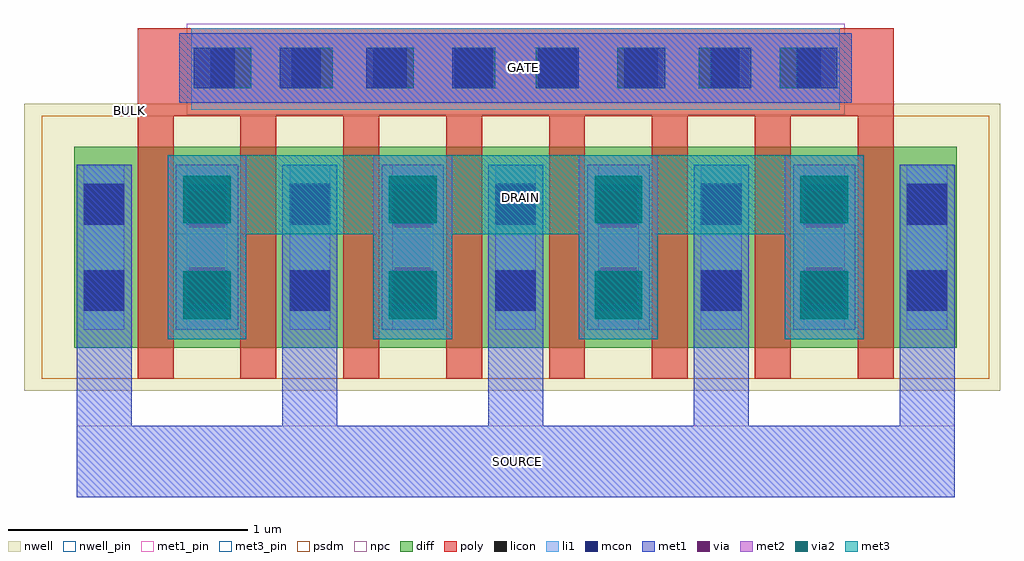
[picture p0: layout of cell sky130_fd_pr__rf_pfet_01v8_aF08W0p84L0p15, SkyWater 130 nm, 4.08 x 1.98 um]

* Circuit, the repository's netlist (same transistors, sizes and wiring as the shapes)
* Copyright 2020 The SkyWater PDK Authors
*
* Licensed under the Apache License, Version 2.0 (the "License");
* you may not use this file except in compliance with the License.
* You may obtain a copy of the License at
*
*     https://www.apache.org/licenses/LICENSE-2.0
*
* Unless required by applicable law or agreed to in writing, software
* distributed under the License is distributed on an "AS IS" BASIS,
* WITHOUT WARRANTIES OR CONDITIONS OF ANY KIND, either express or implied.
* See the License for the specific language governing permissions and
* limitations under the License.
*
* SPDX-License-Identifier: Apache-2.0


.subckt sky130_fd_pr__rf_pfet_01v8_aF08W0p84L0p15 BULK DRAIN GATE SOURCE
X0 SOURCE GATE DRAIN BULK sky130_fd_pr__pfet_01v8 w=840000u l=150000u
X1 DRAIN GATE SOURCE BULK sky130_fd_pr__pfet_01v8 w=840000u l=150000u
X2 SOURCE GATE DRAIN BULK sky130_fd_pr__pfet_01v8 w=840000u l=150000u
X3 SOURCE GATE DRAIN BULK sky130_fd_pr__pfet_01v8 w=840000u l=150000u
X4 DRAIN GATE SOURCE BULK sky130_fd_pr__pfet_01v8 w=840000u l=150000u
X5 SOURCE GATE DRAIN BULK sky130_fd_pr__pfet_01v8 w=840000u l=150000u
X6 DRAIN GATE SOURCE BULK sky130_fd_pr__pfet_01v8 w=840000u l=150000u
X7 DRAIN GATE SOURCE BULK sky130_fd_pr__pfet_01v8 w=840000u l=150000u
.ends

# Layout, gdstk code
import gdstk
lib = gdstk.Library(unit=1e-6, precision=1e-09)
def R(c, l, rs):  # rectangles x0, y0, x1, y1
    for r in rs: c.add(gdstk.rectangle(r[:2], r[2:], *l))
def A(c, l, x, y, w, h, nx, ny, dx, dy):  # array of equal rectangles
    R(c, l, [(x+i*dx, y+j*dy, x+i*dx+w, y+j*dy+h) for i in range(nx) for j in range(ny)])
nwell_pin = (64, 16)
nwell = (64, 20)
diff = (65, 20)
poly = (66, 20)
licon = (66, 44)
li1 = (67, 20)
mcon = (67, 44)
met1_pin = (68, 16)
met1 = (68, 20)
via = (68, 44)
met2 = (69, 20)
via2 = (69, 44)
met3_pin = (70, 16)
met3 = (70, 20)
psdm = (94, 20)
npc = (95, 20)

sky130_fd_pr__rf_pfet_01 = lib.new_cell('sky130_fd_pr__rf_pfet_01v8_aF08W0p84L0p15')
R(sky130_fd_pr__rf_pfet_01, nwell_pin, [(0.425,1.16,0.455,1.185)])
R(sky130_fd_pr__rf_pfet_01, nwell, [(0,0,4.08,1.2)])
A(sky130_fd_pr__rf_pfet_01, diff, 0.475, 0.18, 0.15, 0.84, 8, 1, 0.43, 0)
A(sky130_fd_pr__rf_pfet_01, diff, 1.055, 0.18, 0.28, 0.84, 3, 1, 0.43, 0)
A(sky130_fd_pr__rf_pfet_01, diff, 1.085, 0.18, 0.25, 0.84, 3, 1, 0.86, 0)
A(sky130_fd_pr__rf_pfet_01, diff, 1.915, 0.18, 0.28, 0.84, 3, 1, 0.43, 0)
R(sky130_fd_pr__rf_pfet_01, diff, [(0.21,0.18,0.475,1.02), (0.24,0.18,0.475,1.02), (0.625,0.18,0.905,1.02), (1.055,0.18,1.335,1.02), (2.775,0.18,3.055,1.02), (3.205,0.18,3.485,1.02), (3.635,0.18,3.9,1.02), (3.635,0.18,3.9,1.02), (3.635,0.18,3.87,1.02), (3.665,0.18,3.9,1.02)])
A(sky130_fd_pr__rf_pfet_01, poly, 0.475, 0.05, 0.15, 1.1, 8, 1, 0.43, 0)
A(sky130_fd_pr__rf_pfet_01, poly, 0.475, 0.05, 0.15, 0.13, 8, 2, 0.43, 0.97)
R(sky130_fd_pr__rf_pfet_01, poly, [(0.475,1.15,3.635,1.515), (0.7,1.175,3.41,1.515)])
A(sky130_fd_pr__rf_pfet_01, licon, 0.25, 0.335, 0.17, 0.17, 9, 2, 0.43, 0.36)
A(sky130_fd_pr__rf_pfet_01, licon, 0.78, 1.265, 0.17, 0.17, 8, 1, 0.34, 0)
A(sky130_fd_pr__rf_pfet_01, li1, 0.25, 0.255, 0.17, 0.69, 9, 1, 0.43, 0)
R(sky130_fd_pr__rf_pfet_01, li1, [(0.7,1.175,3.41,1.515), (0.71,1.265,3.4,1.435)])
A(sky130_fd_pr__rf_pfet_01, mcon, 0.25, 0.335, 0.17, 0.17, 9, 2, 0.43, 0.36)
A(sky130_fd_pr__rf_pfet_01, mcon, 0.71, 1.265, 0.17, 0.17, 8, 1, 0.36, 0)
R(sky130_fd_pr__rf_pfet_01, met1_pin, [(0.22,-0.445,3.89,-0.145), (0.65,1.205,3.46,1.495)])
A(sky130_fd_pr__rf_pfet_01, met1, 0.635, 0.275, 0.26, 0.65, 4, 1, 0.86, 0)
R(sky130_fd_pr__rf_pfet_01, met1, [(0.65,1.205,3.46,1.495)])
A(sky130_fd_pr__rf_pfet_01, via, 0.69, 0.365, 0.15, 0.15, 4, 2, 0.86, 0.32)
A(sky130_fd_pr__rf_pfet_01, met2, 0.6, 0.215, 0.33, 0.77, 4, 1, 0.86, 0)
A(sky130_fd_pr__rf_pfet_01, met2, 0.635, 0.28, 0.26, 0.64, 4, 1, 0.86, 0)
A(sky130_fd_pr__rf_pfet_01, via2, 0.665, 0.3, 0.2, 0.2, 4, 2, 0.86, 0.4)
R(sky130_fd_pr__rf_pfet_01, met3_pin, [(0.6,0.655,3.51,0.985)])
A(sky130_fd_pr__rf_pfet_01, met3, 0.6, 0.215, 0.33, 0.77, 4, 1, 0.86, 0)
A(sky130_fd_pr__rf_pfet_01, psdm, 0.495, 0.05, 0.54, 1.1, 7, 1, 0.43, 0)
A(sky130_fd_pr__rf_pfet_01, psdm, 0.655, 0.05, 0.4, 1.1, 6, 1, 0.43, 0)
R(sky130_fd_pr__rf_pfet_01, psdm, [(0.075,0.05,0.605,1.15), (0.24,0.05,0.625,1.15), (3.235,0.05,3.87,1.15), (3.505,0.05,4.035,1.15)])
R(sky130_fd_pr__rf_pfet_01, npc, [(0.68,1.155,3.43,1.535)])
sky130_fd_pr__rf_pfet_01.add(gdstk.FlexPath([(0.6,0.82),(3.51,0.82)], 0.33, ends="flush", simple_path=True, layer=70, datatype=20))  # met3
sky130_fd_pr__rf_pfet_01.add(gdstk.FlexPath([(2.915,0.945),(2.915,-0.445)], 0.23, ends="flush", simple_path=True, layer=68, datatype=20))  # met1
sky130_fd_pr__rf_pfet_01.add(gdstk.FlexPath([(3.775,0.945),(3.775,-0.445)], 0.23, ends="flush", simple_path=True, layer=68, datatype=20))  # met1
sky130_fd_pr__rf_pfet_01.add(gdstk.FlexPath([(2.055,0.945),(2.055,-0.445)], 0.23, ends="flush", simple_path=True, layer=68, datatype=20))  # met1
sky130_fd_pr__rf_pfet_01.add(gdstk.FlexPath([(0.22,-0.295),(3.89,-0.295)], 0.3, ends="flush", simple_path=True, layer=68, datatype=20))  # met1
sky130_fd_pr__rf_pfet_01.add(gdstk.FlexPath([(1.195,0.945),(1.195,-0.445)], 0.23, ends="flush", simple_path=True, layer=68, datatype=20))  # met1
sky130_fd_pr__rf_pfet_01.add(gdstk.FlexPath([(3.345,0.945),(3.345,0.255)], 0.26, ends="flush", simple_path=True, layer=68, datatype=20))  # met1
sky130_fd_pr__rf_pfet_01.add(gdstk.FlexPath([(2.485,0.945),(2.485,0.255)], 0.26, ends="flush", simple_path=True, layer=68, datatype=20))  # met1
sky130_fd_pr__rf_pfet_01.add(gdstk.FlexPath([(1.625,0.945),(1.625,0.255)], 0.26, ends="flush", simple_path=True, layer=68, datatype=20))  # met1
sky130_fd_pr__rf_pfet_01.add(gdstk.FlexPath([(0.765,0.945),(0.765,0.255)], 0.26, ends="flush", simple_path=True, layer=68, datatype=20))  # met1
sky130_fd_pr__rf_pfet_01.add(gdstk.FlexPath([(0.335,0.945),(0.335,-0.445)], 0.23, ends="flush", simple_path=True, layer=68, datatype=20))  # met1
sky130_fd_pr__rf_pfet_01.add(gdstk.Label('DRAIN', (2.075,0.81), layer=70, texttype=16))
sky130_fd_pr__rf_pfet_01.add(gdstk.Label('SOURCE', (2.065,-0.295), layer=68, texttype=16))
sky130_fd_pr__rf_pfet_01.add(gdstk.Label('GATE', (2.09,1.35), layer=68, texttype=16))
sky130_fd_pr__rf_pfet_01.add(gdstk.Label('BULK', (0.44,1.17), layer=64, texttype=5))

lib.write_gds('sky130_fd_pr__rf_pfet_01v8_aF08W0p84L0p15.gds')
